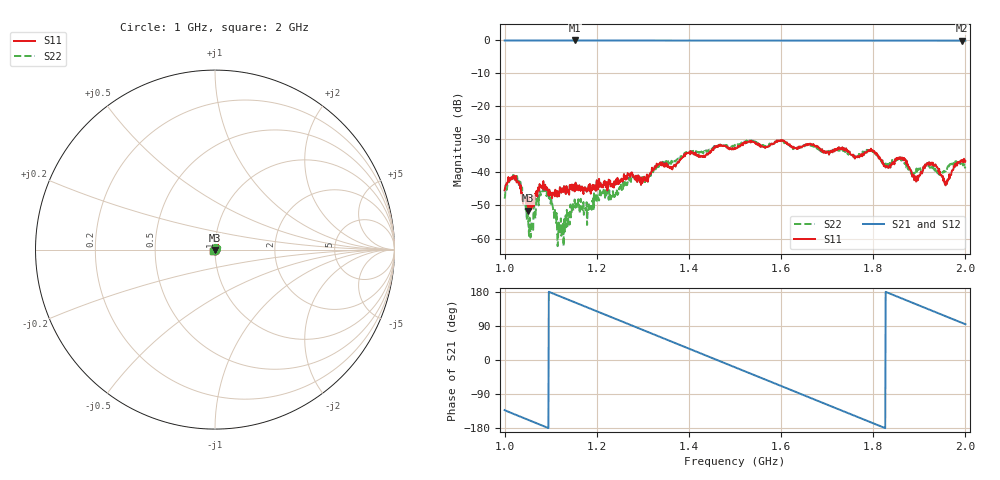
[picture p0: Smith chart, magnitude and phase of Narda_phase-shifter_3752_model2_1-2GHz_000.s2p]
#  HZ  S  DB  R  50.00
! Rohde & Schwarz Vector Network Analyzer
! Rohde-Schwarz,ZNB8-4Port,1311601044102961,2.82
! Created: UTC 1/17/2019, 2:54:30 PM
! freq[Hz]  db:S11  ang:S11  db:S21  ang:S21  db:S12  ang:S12  db:S22  ang:S22
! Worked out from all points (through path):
!   1001 points, 1 GHz to 2 GHz, reference 50 ohm
!   highest |S21| = -0.02 dB at 1.152 GHz (marker M1); lowest = -0.1 dB at 1.993 GHz (marker M2)
!   group delay of S21, straight-line fit = 1.37 ns
!   lowest |S11| = -51.6 dB at 1.051 GHz (marker M3), VSWR 1.01, Z = 49.9 - j0.243 ohm
!   |S11| at or under -10 dB: start of sweep to end of sweep
!   |S22| runs from -62.3 to -30.1 dB; largest |S21 - S12| = 0.011
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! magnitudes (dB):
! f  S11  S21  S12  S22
! 1 GHz  -45.4  0.0  0.0  -47.9
! 1.025 GHz  -41.1  0.0  -0.1  -41.7
! 1.051 GHz  -51.6  0.0  -0.1  -54.5
! 1.057 GHz  -49.2  0.0  -0.1  -59.3
! 1.084 GHz  -42.6  0.0  -0.1  -45.0
! 1.099 GHz  -46.0  0.0  -0.1  -48.2
! 1.119 GHz  -45.7  0.0  -0.1  -56.1
! 1.152 GHz  -45.7  0.0  -0.1  -48.2
! 1.167 GHz  -44.7  0.0  -0.1  -49.8
! 1.272 GHz  -41.2  0.0  0.0  -41.3
! 1.301 GHz  -42.6  0.0  0.0  -42.5
! 1.334 GHz  -37.7  0.0  -0.1  -37.7
! 1.5 GHz  -32.5  0.0  -0.1  -31.6
! 1.667 GHz  -31.6  -0.1  -0.1  -31.8
! 1.798 GHz  -33.5  -0.1  -0.1  -33.6
! 1.834 GHz  -38.4  -0.1  -0.1  -38.0
! 1.864 GHz  -35.8  0.0  -0.1  -36.3
! 1.894 GHz  -42.6  -0.1  -0.1  -38.8
! 1.926 GHz  -37.0  -0.1  -0.1  -38.4
! 1.959 GHz  -42.6  -0.1  -0.1  -39.5
! 1.993 GHz  -36.4  -0.1  -0.1  -37.4
! 2 GHz  -36.6  -0.1  -0.1  -38.3
